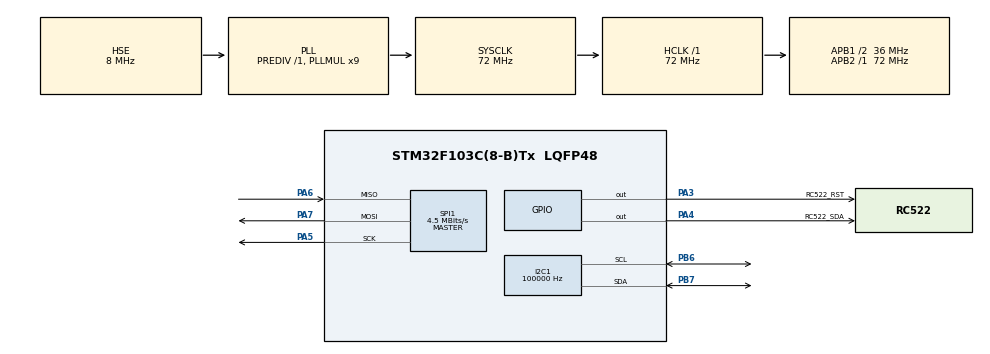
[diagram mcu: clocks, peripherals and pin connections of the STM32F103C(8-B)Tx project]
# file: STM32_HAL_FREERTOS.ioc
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I2C1.ClockSpeed=100000
I2C1.NoStretchMode=I2C_NOSTRETCH_DISABLE
Mcu.Family=STM32F1
Mcu.Name=STM32F103C(8-B)Tx
Mcu.Package=LQFP48
NVIC.PriorityGroup=NVIC_PRIORITYGROUP_4
PA13.Mode=Serial_Wire
PA13.Signal=SYS_JTMS-SWDIO
PA14.Mode=Serial_Wire
PA14.Signal=SYS_JTCK-SWCLK
PA3.GPIO_Label=RC522_RST
PA3.GPIO_ModeDefaultOutputPP=GPIO_MODE_OUTPUT_PP
PA3.GPIO_PuPd=GPIO_PULLUP
PA3.GPIO_Speed=GPIO_SPEED_FREQ_HIGH
PA3.Signal=GPIO_Output
PA4.GPIO_Label=RC522_SDA
PA4.GPIO_ModeDefaultOutputPP=GPIO_MODE_OUTPUT_PP
PA4.GPIO_PuPd=GPIO_PULLUP
PA4.GPIO_Speed=GPIO_SPEED_FREQ_HIGH
PA4.PinState=GPIO_PIN_RESET
PA4.Signal=GPIO_Output
PA5.Mode=Full_Duplex_Master
PA5.Signal=SPI1_SCK
PA6.Mode=Full_Duplex_Master
PA6.Signal=SPI1_MISO
PA7.Mode=Full_Duplex_Master
PA7.Signal=SPI1_MOSI
PB6.Mode=I2C
PB6.Signal=I2C1_SCL
PB7.Mode=I2C
PB7.Signal=I2C1_SDA
PD0-OSC_IN.Mode=HSE-External-Oscillator
PD0-OSC_IN.Signal=RCC_OSC_IN
PD1-OSC_OUT.Mode=HSE-External-Oscillator
PD1-OSC_OUT.Signal=RCC_OSC_OUT
ProjectManager.HeapSize=0x200
ProjectManager.StackSize=0x400
ProjectManager.TargetToolchain=CMake
RCC.AHBFreq_Value=72000000
RCC.APB1CLKDivider=RCC_HCLK_DIV2
RCC.APB1Freq_Value=36000000
RCC.APB1TimFreq_Value=72000000
RCC.APB2Freq_Value=72000000
RCC.APB2TimFreq_Value=72000000
RCC.HCLKFreq_Value=72000000
RCC.PLLMUL=RCC_PLL_MUL9
RCC.PLLSourceVirtual=RCC_PLLSOURCE_HSE
RCC.SYSCLKFreq_VALUE=72000000
RCC.SYSCLKSource=RCC_SYSCLKSOURCE_PLLCLK
RCC.USBFreq_Value=72000000
SPI1.BaudRatePrescaler=SPI_BAUDRATEPRESCALER_16
SPI1.CalculateBaudRate=4.5 MBits/s
SPI1.Direction=SPI_DIRECTION_2LINES
SPI1.Mode=SPI_MODE_MASTER
SPI1.VirtualType=VM_MASTER
TIM1.AutoReloadPreload=TIM_AUTORELOAD_PRELOAD_ENABLE
TIM1.Period=200-1
TIM1.Prescaler=7200-1
TIM2.AutoReloadPreload=TIM_AUTORELOAD_PRELOAD_ENABLE
TIM2.Period=400-1
TIM2.Prescaler=7200-1
VP_TIM1_VS_ClockSourceINT.Mode=Internal
VP_TIM2_VS_ClockSourceINT.Mode=Internal
board=custom

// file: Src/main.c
/* USER CODE BEGIN Header */
/**
  ******************************************************************************
  * @file           : main.c
  * @brief          : Main program body
  ******************************************************************************
  * @attention
  *
  * Copyright (c) 2026 STMicroelectronics.
  * All rights reserved.
  *
  * This software is licensed under terms that can be found in the LICENSE file
  * in the root directory of this software component.
  * If no LICENSE file comes with this software, it is provided AS-IS.
  *
  ******************************************************************************
  */
/* USER CODE END Header */
#include "main.h"
#include "i2c.h"
#include "spi.h"
#include "tim.h"
#include "gpio.h"

/* USER CODE BEGIN Includes */
#include "oled_device.h"
#include "pca9685_device.h"
#include "rc522_device.h"
#include "string.h"
#include "stdbool.h"
/* USER CODE END Includes */

/* USER CODE BEGIN PV */
stOledStaticParamTdf stOledInit;
stPca9685StaticParamTdf stPca9685Init;
stRc522StaticParamTdf stRc522Init;
static volatile uint8_t ucPca9685Ready = FALSE;
static volatile uint8_t ucOledRefreshReq = FALSE;
static bool Nfc_Judge = FALSE;
static char acCardUidHexIsr[16] = "-- -- -- --";
static char acCardFlag[] = "F";
static uint32_t ulUidKey;
char acCardUidHex[16] = "-- -- -- --";

/* USER CODE END PV */

void SystemClock_Config(void);

/* USER CODE BEGIN 0 */

static uint16_t s_usGetOledI2cAddr(void)
{
  if(HAL_I2C_IsDeviceReady(&hi2c1, 0x78, 2u, 20u) == HAL_OK)
  {
    return 0x78;
  }

  if(HAL_I2C_IsDeviceReady(&hi2c1, 0x7A, 2u, 20u) == HAL_OK)
  {
    return 0x7A;
  }

  return 0x78;
}

/* USER CODE END 0 */

int main(void)
{

  /* MCU Configuration--------------------------------------------------------*/

  /* Reset of all peripherals, Initializes the Flash interface and the Systick. */
  HAL_Init();

  /* Configure the system clock */
  SystemClock_Config();

  /* Initialize all configured peripherals */
  MX_GPIO_Init();
  MX_I2C1_Init();
  MX_SPI1_Init();
  MX_TIM1_Init();
  MX_TIM2_Init();
  /* USER CODE BEGIN 2 */
  stOledInit.pstI2cHandle = &hi2c1;
  stOledInit.usDevAddr = s_usGetOledI2cAddr();
  vOledDeviceInit(&stOledInit, OLED);

  vUiWriteStringToBuffer(0, 0, (const uint8_t *)"RC522 UID:", emOledFontSize_8x16, emOledPixelShowMode_Positive, OLED);
  vUiWriteStringToBuffer(0, 16, (const uint8_t *)acCardUidHex, emOledFontSize_8x16, emOledPixelShowMode_Positive, OLED);
  vUiWriteStringToBuffer(0, 32, (const uint8_t *)"Card Flag: ", emOledFontSize_6x12, emOledPixelShowMode_Positive, OLED);
    vUiWriteStringToBuffer(64, 32, (const uint8_t *)acCardFlag, emOledFontSize_6x12, emOledPixelShowMode_Positive, OLED);
  vOledRefreshFromBuffer(OLED);

  if(HAL_I2C_IsDeviceReady(&hi2c1, 0x80, 2u, 20u) == HAL_OK)
  {
    stPca9685Init.pstI2cHandle = &hi2c1;
    stPca9685Init.usDevAddr = 0x80;
    stPca9685Init.usServoMinPulseUs = PCA9685_SERVO_MIN_PULSE_US;
    stPca9685Init.usServoMaxPulseUs = PCA9685_SERVO_MAX_PULSE_US;
    vPca9685DeviceInit(&stPca9685Init, PCA9685);
    ucPca9685Ready = TRUE;
  }

  stRc522Init.pstSpiHandle = &hspi1;
  stRc522Init.pstNssPort = RC522_SDA_GPIO_Port;
  stRc522Init.usNssPin = RC522_SDA_Pin;
  stRc522Init.pstRstPort = RC522_RST_GPIO_Port;
  stRc522Init.usRstPin = RC522_RST_Pin;
  vRc522DeviceInit(&stRc522Init, RC522);

  if(HAL_TIM_Base_Start_IT(&htim1) != HAL_OK)
  {
    Error_Handler();
  }

  if(HAL_TIM_Base_Start_IT(&htim2) != HAL_OK)
  {
    Error_Handler();
  }

  ucOledRefreshReq = TRUE;

  /* USER CODE END 2 */

  /* Infinite loop */
  while (1)
  {

    /* USER CODE BEGIN 3 */
    if(ucOledRefreshReq != FALSE)
    {
      __disable_irq();
      memcpy(acCardUidHex, acCardUidHexIsr, sizeof(acCardUidHex));
      ucOledRefreshReq = FALSE;
      __enable_irq();

      vUiWriteStringToBuffer(0, 16, (const uint8_t *)acCardUidHex, emOledFontSize_8x16, emOledPixelShowMode_Positive, OLED);
      vUiWriteStringToBuffer(64, 32, (const uint8_t *)acCardFlag, emOledFontSize_6x12, emOledPixelShowMode_Positive, OLED);
      vOledRefreshFromBuffer(OLED);
    }
  }
  /* USER CODE END 3 */
}

void SystemClock_Config(void)
{
  RCC_OscInitTypeDef RCC_OscInitStruct = {0};
  RCC_ClkInitTypeDef RCC_ClkInitStruct = {0};

  /** Initializes the RCC Oscillators according to the specified parameters
  * in the RCC_OscInitTypeDef structure.
  */
  RCC_OscInitStruct.OscillatorType = RCC_OSCILLATORTYPE_HSE;
  RCC_OscInitStruct.HSEState = RCC_HSE_ON;
  RCC_OscInitStruct.HSEPredivValue = RCC_HSE_PREDIV_DIV1;
  RCC_OscInitStruct.HSIState = RCC_HSI_ON;
  RCC_OscInitStruct.PLL.PLLState = RCC_PLL_ON;
  RCC_OscInitStruct.PLL.PLLSource = RCC_PLLSOURCE_HSE;
  RCC_OscInitStruct.PLL.PLLMUL = RCC_PLL_MUL9;
  if (HAL_RCC_OscConfig(&RCC_OscInitStruct) != HAL_OK)
  {
    Error_Handler();
  }

  /** Initializes the CPU, AHB and APB buses clocks
  */
  RCC_ClkInitStruct.ClockType = RCC_CLOCKTYPE_HCLK|RCC_CLOCKTYPE_SYSCLK
                              |RCC_CLOCKTYPE_PCLK1|RCC_CLOCKTYPE_PCLK2;
  RCC_ClkInitStruct.SYSCLKSource = RCC_SYSCLKSOURCE_PLLCLK;
  RCC_ClkInitStruct.AHBCLKDivider = RCC_SYSCLK_DIV1;
  RCC_ClkInitStruct.APB1CLKDivider = RCC_HCLK_DIV2;
  RCC_ClkInitStruct.APB2CLKDivider = RCC_HCLK_DIV1;

  if (HAL_RCC_ClockConfig(&RCC_ClkInitStruct, FLASH_LATENCY_2) != HAL_OK)
  {
    Error_Handler();
  }
}

/* USER CODE BEGIN 4 */

void HAL_TIM_PeriodElapsedCallback(TIM_HandleTypeDef *htim)
{

  if(htim->Instance == TIM2)
  {

    if(Nfc_Judge==true)
    {
        vPca9685SetServoAngle(Servo_Open, 0, PCA9685);
    }

    else
    {
        vPca9685SetServoAngle(Servo_Close, 0, PCA9685);
    }

  }

  else if(htim->Instance == TIM1)
  {
    char acUidTmp[16] = {0};

    ucRc522ReadUidHex(acUidTmp, sizeof(acUidTmp), RC522);
    if(ucRc522UidHexToKey32(acUidTmp, &ulUidKey) != FALSE)
    {
        switch (ulUidKey)
        {
          case 0xDD9AF006:
            Nfc_Judge = TRUE;
            strcpy(acCardFlag, "T");
            break;

          default:
            Nfc_Judge=FALSE;
            strcpy(acCardFlag, "F");
          for(int i = 0; i < PCA9685_CHANNEL_NUM; i++)
          {
              vPca9685SetServoAngle(Servo_Close, i, PCA9685);
          }
            break;
       }
    }

    if(memcmp(acCardUidHexIsr, acUidTmp, sizeof(acCardUidHexIsr)) != 0)
    {
      memcpy(acCardUidHexIsr, acUidTmp, sizeof(acCardUidHexIsr));
      ucOledRefreshReq = TRUE;
    }
  }

}

/* USER CODE END 4 */

void Error_Handler(void)
{
  __disable_irq();
  while (1)
  {
  }
}
